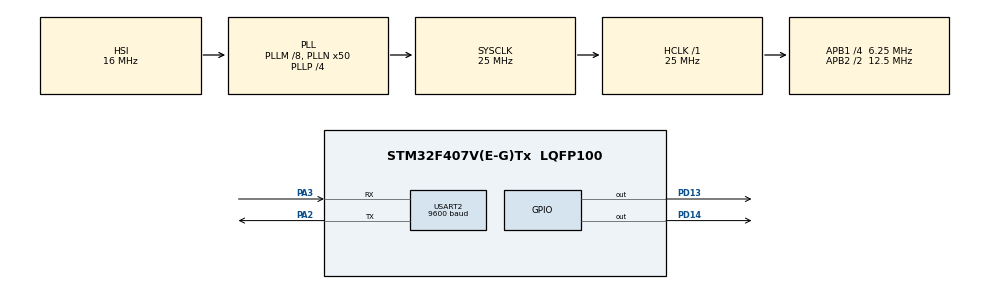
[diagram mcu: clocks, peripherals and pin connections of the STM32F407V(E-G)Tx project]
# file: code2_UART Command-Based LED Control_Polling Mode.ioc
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Mcu.Family=STM32F4
Mcu.Name=STM32F407V(E-G)Tx
Mcu.Package=LQFP100
NVIC.PriorityGroup=NVIC_PRIORITYGROUP_0
PA2.Mode=Asynchronous
PA2.Signal=USART2_TX
PA3.Mode=Asynchronous
PA3.Signal=USART2_RX
PD13.Signal=GPIO_Output
PD14.Signal=GPIO_Output
ProjectManager.HeapSize=0x200
ProjectManager.StackSize=0x400
ProjectManager.TargetToolchain=STM32CubeIDE
RCC.48MHZClocksFreq_Value=14285714.285714285
RCC.AHBFreq_Value=25000000
RCC.APB1CLKDivider=RCC_HCLK_DIV4
RCC.APB1Freq_Value=6250000
RCC.APB1TimFreq_Value=12500000
RCC.APB2CLKDivider=RCC_HCLK_DIV2
RCC.APB2Freq_Value=12500000
RCC.APB2TimFreq_Value=25000000
RCC.CortexFreq_Value=25000000
RCC.HCLKFreq_Value=25000000
RCC.HSE_VALUE=8000000
RCC.HSI_VALUE=16000000
RCC.LSE_VALUE=32768
RCC.PLLM=8
RCC.PLLN=50
RCC.PLLP=RCC_PLLP_DIV4
RCC.PLLQ=7
RCC.SYSCLKFreq_VALUE=25000000
RCC.SYSCLKSource=RCC_SYSCLKSOURCE_PLLCLK
RCC.VCOOutputFreq_Value=100000000
USART2.BaudRate=9600
USART2.VirtualMode=VM_ASYNC
board=STM32F407G-DISC1

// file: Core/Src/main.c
/* USER CODE BEGIN Header */
/**
  ******************************************************************************
  * @file           : main.c
  * @brief          : Main program body
  ******************************************************************************
  * @attention
  *
  * Copyright (c) 2025 STMicroelectronics.
  * All rights reserved.
  *
  * This software is licensed under terms that can be found in the LICENSE file
  * in the root directory of this software component.
  * If no LICENSE file comes with this software, it is provided AS-IS.
  *
  ******************************************************************************
  */
/* USER CODE END Header */
#include "main.h"
#include<string.h>
/* USER CODE BEGIN Includes */
#define MAX_LEN 100
uint8_t rx_byte;
char rx_buffer[MAX_LEN];
uint16_t rx_index = 0;
uint16_t on;

/* USER CODE END Includes */

UART_HandleTypeDef huart2;

void SystemClock_Config(void);
static void MX_GPIO_Init(void);
static void MX_USART2_UART_Init(void);

int main(void)
{

  /* MCU Configuration--------------------------------------------------------*/

  /* Reset of all peripherals, Initializes the Flash interface and the Systick. */
  HAL_Init();

  /* Configure the system clock */
  SystemClock_Config();

  /* Initialize all configured peripherals */
  MX_GPIO_Init();
  MX_USART2_UART_Init();
  /* USER CODE BEGIN 2 */

  char msg[50] = "Enter Command ...\r\n";
  HAL_UART_Transmit(&huart2, (uint8_t *)msg, strlen(msg), HAL_MAX_DELAY);

  /* USER CODE END 2 */

  /* Infinite loop */
  while (1)
  {

    /* USER CODE BEGIN 3 */

	  HAL_UART_Receive(&huart2, &rx_byte, 1, HAL_MAX_DELAY);
	  HAL_UART_Transmit(&huart2, &rx_byte, 1, HAL_MAX_DELAY);

	  //enter key handling
	  if(rx_byte == '\r')
	  {
		  rx_buffer[rx_index] = '\0';

		  char msg1[] = "\n";
		  HAL_UART_Transmit(&huart2, (uint8_t *)msg1, strlen(msg1), HAL_MAX_DELAY);
		  {
			  if(strcmp(rx_buffer,"red")==0)
			  {
				  HAL_GPIO_TogglePin(GPIOD, GPIO_PIN_14);
			  }
			  else if(strcmp(rx_buffer,"orange")==0)
			  {
				  HAL_GPIO_TogglePin(GPIOD, GPIO_PIN_13);
			  }
			  else
			  {
				  char msg2[] = "INVALID COMMAND\n";
				  HAL_UART_Transmit(&huart2, (uint8_t *)msg2, strlen(msg2), HAL_MAX_DELAY);
			  }
		  }
		  strupr(rx_buffer);

		 // char msg3[] = "I\r\n";
		//  HAL_UART_Transmit(&huart2, (uint8_t *)msg3, strlen(msg3), HAL_MAX_DELAY);

		  rx_index = 0;
		   }
	  else
	  {
		  //store character
		  if(rx_index < MAX_LEN-1)
		  {
			  rx_buffer[rx_index++] = rx_byte;
		  }
	  }

  }
  /* USER CODE END 3 */
}

void SystemClock_Config(void)
{
  RCC_OscInitTypeDef RCC_OscInitStruct = {0};
  RCC_ClkInitTypeDef RCC_ClkInitStruct = {0};

  /** Configure the main internal regulator output voltage
  */
  __HAL_RCC_PWR_CLK_ENABLE();
  __HAL_PWR_VOLTAGESCALING_CONFIG(PWR_REGULATOR_VOLTAGE_SCALE1);

  /** Initializes the RCC Oscillators according to the specified parameters
  * in the RCC_OscInitTypeDef structure.
  */
  RCC_OscInitStruct.OscillatorType = RCC_OSCILLATORTYPE_HSI;
  RCC_OscInitStruct.HSIState = RCC_HSI_ON;
  RCC_OscInitStruct.HSICalibrationValue = RCC_HSICALIBRATION_DEFAULT;
  RCC_OscInitStruct.PLL.PLLState = RCC_PLL_ON;
  RCC_OscInitStruct.PLL.PLLSource = RCC_PLLSOURCE_HSI;
  RCC_OscInitStruct.PLL.PLLM = 8;
  RCC_OscInitStruct.PLL.PLLN = 50;
  RCC_OscInitStruct.PLL.PLLP = RCC_PLLP_DIV4;
  RCC_OscInitStruct.PLL.PLLQ = 7;
  if (HAL_RCC_OscConfig(&RCC_OscInitStruct) != HAL_OK)
  {
    Error_Handler();
  }

  /** Initializes the CPU, AHB and APB buses clocks
  */
  RCC_ClkInitStruct.ClockType = RCC_CLOCKTYPE_HCLK|RCC_CLOCKTYPE_SYSCLK
                              |RCC_CLOCKTYPE_PCLK1|RCC_CLOCKTYPE_PCLK2;
  RCC_ClkInitStruct.SYSCLKSource = RCC_SYSCLKSOURCE_PLLCLK;
  RCC_ClkInitStruct.AHBCLKDivider = RCC_SYSCLK_DIV1;
  RCC_ClkInitStruct.APB1CLKDivider = RCC_HCLK_DIV4;
  RCC_ClkInitStruct.APB2CLKDivider = RCC_HCLK_DIV2;

  if (HAL_RCC_ClockConfig(&RCC_ClkInitStruct, FLASH_LATENCY_0) != HAL_OK)
  {
    Error_Handler();
  }
}

static void MX_USART2_UART_Init(void)
{

  huart2.Instance = USART2;
  huart2.Init.BaudRate = 9600;
  huart2.Init.WordLength = UART_WORDLENGTH_8B;
  huart2.Init.StopBits = UART_STOPBITS_1;
  huart2.Init.Parity = UART_PARITY_NONE;
  huart2.Init.Mode = UART_MODE_TX_RX;
  huart2.Init.HwFlowCtl = UART_HWCONTROL_NONE;
  huart2.Init.OverSampling = UART_OVERSAMPLING_16;
  if (HAL_UART_Init(&huart2) != HAL_OK)
  {
    Error_Handler();
  }

}

static void MX_GPIO_Init(void)
{
  GPIO_InitTypeDef GPIO_InitStruct = {0};

  /* GPIO Ports Clock Enable */
  __HAL_RCC_GPIOA_CLK_ENABLE();
  __HAL_RCC_GPIOD_CLK_ENABLE();

  /*Configure GPIO pin Output Level */
  HAL_GPIO_WritePin(GPIOD, GPIO_PIN_13|GPIO_PIN_14, GPIO_PIN_RESET);

  /*Configure GPIO pins : PD13 PD14 */
  GPIO_InitStruct.Pin = GPIO_PIN_13|GPIO_PIN_14;
  GPIO_InitStruct.Mode = GPIO_MODE_OUTPUT_PP;
  GPIO_InitStruct.Pull = GPIO_NOPULL;
  GPIO_InitStruct.Speed = GPIO_SPEED_FREQ_LOW;
  HAL_GPIO_Init(GPIOD, &GPIO_InitStruct);

}

void Error_Handler(void)
{
  __disable_irq();
  while (1)
  {
  }
}
